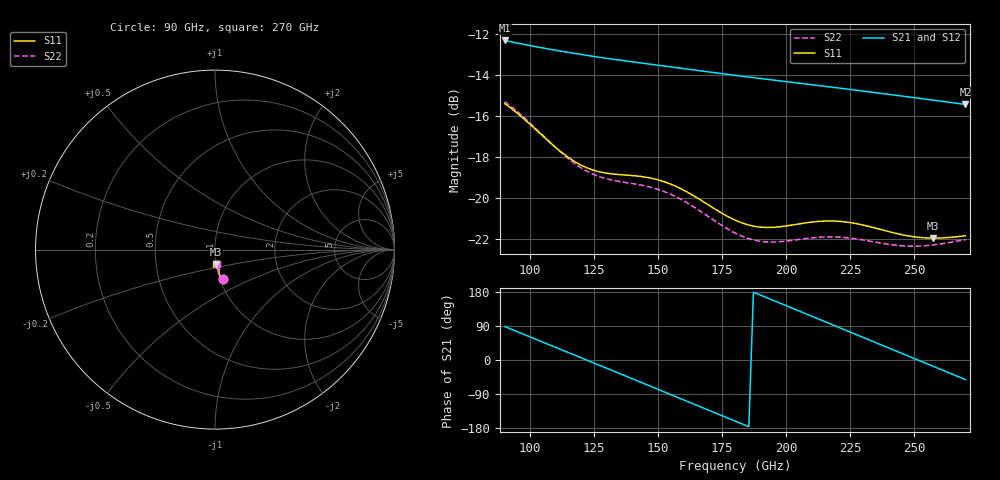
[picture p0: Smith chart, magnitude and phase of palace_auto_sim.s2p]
#  GHZ S DB R 50
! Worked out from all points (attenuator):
!   101 points, 90 GHz to 270 GHz, reference 50 ohm
!   highest |S21| = -12.33 dB at 90 GHz (marker M1); lowest = -15.4 dB at 270 GHz (marker M2)
!   lowest |S11| = -21.9 dB at 257.4 GHz (marker M3), VSWR 1.17, Z = 50.1 - j8.04 ohm
!   |S11| at or under -10 dB: start of sweep to end of sweep
!   |S22| runs from -22.3 to -15.3 dB; largest |S21 - S12| = 4e-14
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90  -15.39 -74.9  -12.33 88.4  -12.33 88.4  -15.30 -75.0
97.2  -16.11 -78.0  -12.51 68.5  -12.51 68.5  -16.03 -78.4
106.2  -17.12 -80.1  -12.73 43.6  -12.73 43.6  -17.10 -81.0
113.4  -17.88 -80.1  -12.88 23.8  -12.88 23.8  -17.92 -81.3
120.6  -18.44 -79.0  -13.03 3.9  -13.03 3.9  -18.58 -80.4
127.8  -18.74 -77.8  -13.16 -16.0  -13.16 -16.0  -18.98 -79.2
135  -18.85 -77.5  -13.29 -36.0  -13.29 -36.0  -19.19 -78.7
144  -18.96 -78.9  -13.44 -60.9  -13.44 -60.9  -19.38 -79.7
151.2  -19.15 -81.0  -13.56 -80.9  -13.56 -80.9  -19.62 -81.5
163.8  -19.87 -84.5  -13.76 -116.0  -13.76 -116.0  -20.41 -84.6
172.8  -20.57 -85.2  -13.91 -141.0  -13.91 -141.0  -21.16 -84.9
180  -21.06 -84.1  -14.03 -161.0  -14.03 -161.0  -21.69 -83.7
187.2  -21.35 -82.3  -14.14 179.0  -14.14 179.0  -22.03 -81.5
194.4  -21.42 -80.5  -14.25 159.0  -14.25 159.0  -22.13 -79.4
203.4  -21.28 -79.6  -14.38 133.9  -14.38 133.9  -22.03 -78.0
210.6  -21.15 -80.2  -14.49 113.9  -14.49 113.9  -21.92 -78.2
217.8  -21.11 -81.6  -14.60 93.8  -14.60 93.8  -21.88 -79.1
225  -21.18 -83.3  -14.71 73.7  -14.71 73.7  -21.94 -80.2
241.2  -21.65 -85.4  -14.97 28.6  -14.97 28.6  -22.26 -81.3
248.4  -21.84 -85.3  -15.09 8.5  -15.09 8.5  -22.33 -81.1
257.4  -21.94 -84.6  -15.23 -16.6  -15.23 -16.6  -22.27 -80.8
270  -21.82 -84.4  -15.44 -51.6  -15.44 -51.6  -22.01 -81.9
